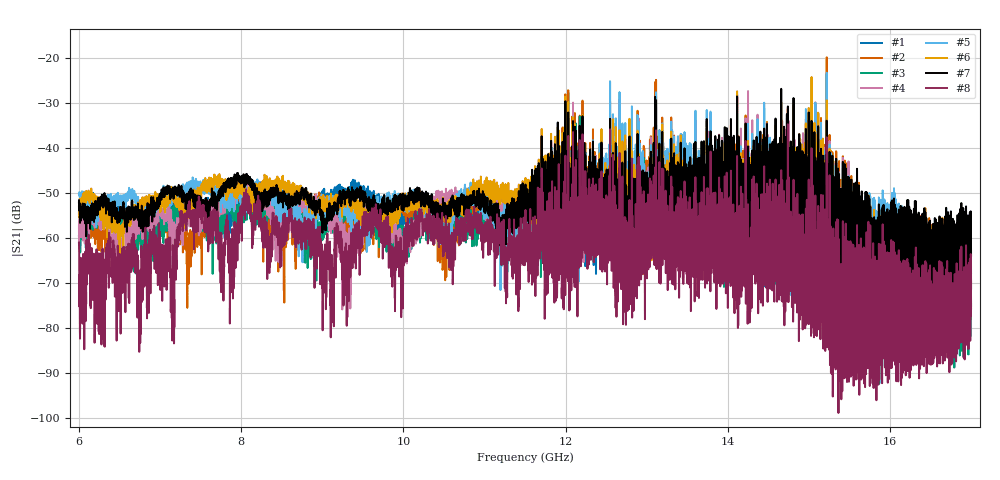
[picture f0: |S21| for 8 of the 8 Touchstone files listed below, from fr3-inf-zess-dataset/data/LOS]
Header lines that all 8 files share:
#  HZ  S  RI  R  50.00
! Rohde & Schwarz Vector Network Analyzer
! Rohde-Schwarz,ZNA67-2Port,1332450062101215,3.01
! freq[Hz]  re:S11  im:S11  re:S21  im:S21  re:S12  im:S12  re:S22  im:S22
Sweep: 6 GHz to 17 GHz
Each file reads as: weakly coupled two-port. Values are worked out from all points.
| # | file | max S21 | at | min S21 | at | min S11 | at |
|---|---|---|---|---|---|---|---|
| 1 | pt2.s2p | -23.50 dB | 15.22 GHz | -92.4 dB | 15.868 GHz | -38.5 dB | 12.915 GHz |
| 2 | pt3.s2p | -19.84 dB | 15.22 GHz | -86.9 dB | 15.868 GHz | -39.3 dB | 13.217 GHz |
| 3 | pt4.s2p | -29.63 dB | 12.549 GHz | -89.9 dB | 15.833 GHz | -53.3 dB | 15.481 GHz |
| 4 | pt5.s2p | -27.35 dB | 14.25 GHz | -87.7 dB | 15.87 GHz | -40.3 dB | 12.13 GHz |
| 5 | pt6.s2p | -23.28 dB | 15.22 GHz | -84.4 dB | 15.37 GHz | -39.9 dB | 11.07 GHz |
| 6 | pt7.s2p | -24.24 dB | 15.03 GHz | -86.9 dB | 15.79 GHz | -41.5 dB | 11.07 GHz |
| 7 | pt8.s2p | -26.86 dB | 14.66 GHz | -84.7 dB | 15.83 GHz | -40.9 dB | 12.24 GHz |
| 8 | pt9.s2p | -34.73 dB | 14.741 GHz | -98.9 dB | 15.365 GHz | -49.5 dB | 14.824 GHz |
